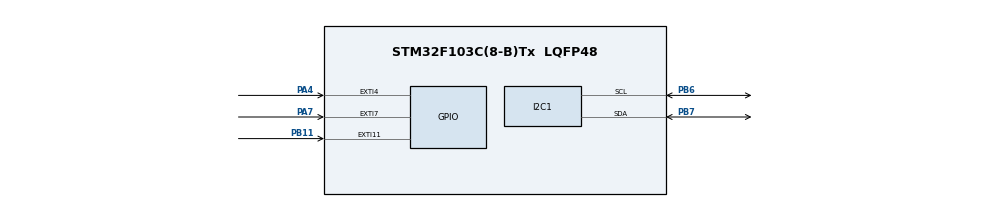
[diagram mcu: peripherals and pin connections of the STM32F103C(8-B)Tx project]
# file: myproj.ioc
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Mcu.Family=STM32F1
Mcu.Name=STM32F103C(8-B)Tx
Mcu.Package=LQFP48
NVIC.EXTI15_10_IRQn=true\:0\:0\:false\:false\:true
NVIC.EXTI4_IRQn=true\:0\:0\:false\:false\:true
NVIC.EXTI9_5_IRQn=true\:0\:0\:false\:false\:true
NVIC.PriorityGroup=NVIC_PRIORITYGROUP_4
PA13.Mode=Serial_Wire
PA13.Signal=SYS_JTMS-SWDIO
PA14.Mode=Serial_Wire
PA14.Signal=SYS_JTCK-SWCLK
PA4.GPIO_ModeDefaultEXTI=GPIO_MODE_IT_RISING_FALLING
PA4.Signal=GPXTI4
PA7.GPIO_ModeDefaultEXTI=GPIO_MODE_IT_FALLING
PA7.Signal=GPXTI7
PB11.GPIO_ModeDefaultEXTI=GPIO_MODE_IT_FALLING
PB11.Signal=GPXTI11
PB6.Mode=I2C
PB6.Signal=I2C1_SCL
PB7.Mode=I2C
PB7.Signal=I2C1_SDA
ProjectManager.HeapSize=0x200
ProjectManager.StackSize=0x400
ProjectManager.TargetToolchain=SW4STM32
RCC.APB1Freq_Value=8000000
RCC.APB2Freq_Value=8000000
board=myproj

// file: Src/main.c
/**
  ******************************************************************************
  * File Name          : main.c
  * Description        : Main program body
  ******************************************************************************
  *
  * COPYRIGHT(c) 2017 STMicroelectronics
  *
  * Redistribution and use in source and binary forms, with or without modification,
  * are permitted provided that the following conditions are met:
  *   1. Redistributions of source code must retain the above copyright notice,
  *      this list of conditions and the following disclaimer.
  *   2. Redistributions in binary form must reproduce the above copyright notice,
  *      this list of conditions and the following disclaimer in the documentation
  *      and/or other materials provided with the distribution.
  *   3. Neither the name of STMicroelectronics nor the names of its contributors
  *      may be used to endorse or promote products derived from this software
  *      without specific prior written permission.
  *
  * THIS SOFTWARE IS PROVIDED BY THE COPYRIGHT HOLDERS AND CONTRIBUTORS "AS IS"
  * AND ANY EXPRESS OR IMPLIED WARRANTIES, INCLUDING, BUT NOT LIMITED TO, THE
  * IMPLIED WARRANTIES OF MERCHANTABILITY AND FITNESS FOR A PARTICULAR PURPOSE ARE
  * DISCLAIMED. IN NO EVENT SHALL THE COPYRIGHT HOLDER OR CONTRIBUTORS BE LIABLE
  * FOR ANY DIRECT, INDIRECT, INCIDENTAL, SPECIAL, EXEMPLARY, OR CONSEQUENTIAL
  * DAMAGES (INCLUDING, BUT NOT LIMITED TO, PROCUREMENT OF SUBSTITUTE GOODS OR
  * SERVICES; LOSS OF USE, DATA, OR PROFITS; OR BUSINESS INTERRUPTION) HOWEVER
  * CAUSED AND ON ANY THEORY OF LIABILITY, WHETHER IN CONTRACT, STRICT LIABILITY,
  * OR TORT (INCLUDING NEGLIGENCE OR OTHERWISE) ARISING IN ANY WAY OUT OF THE USE
  * OF THIS SOFTWARE, EVEN IF ADVISED OF THE POSSIBILITY OF SUCH DAMAGE.
  *
  ******************************************************************************
  */
#include "stm32f1xx_hal.h"

/* USER CODE BEGIN Includes */
#include "lcd.h"
#include "string.h"
#include "stm32f1xx_it.h"
#include <stdio.h>
#include <stdlib.h>
/* USER CODE END Includes */

I2C_HandleTypeDef hi2c1;

/* USER CODE BEGIN PV */
/* Private variables ---------------------------------------------------------*/

/* USER CODE END PV */

void SystemClock_Config(void);
void Error_Handler(void);
static void MX_GPIO_Init(void);
static void MX_I2C1_Init(void);

/* USER CODE BEGIN PFP */
/* Private function prototypes -----------------------------------------------*/

/* USER CODE END PFP */

/* USER CODE BEGIN 0 */
	uint32_t progtime;
	int count;
	int sw_button;
/* USER CODE END 0 */

int main(void)
{

  /* USER CODE BEGIN 1 */

	char message[15]="";
	count = 0;
	sw_button = 0;

  LCD1602 scr;
  scr.hi2c = &hi2c1;
  scr.DevAddress = (0x27<<1);
  /* USER CODE END 1 */

  /* MCU Configuration----------------------------------------------------------*/

  /* Reset of all peripherals, Initializes the Flash interface and the Systick. */
  HAL_Init();

  /* Configure the system clock */
  SystemClock_Config();

  /* Initialize all configured peripherals */
  MX_GPIO_Init();
  MX_I2C1_Init();

  /* USER CODE BEGIN 2 */
  progtime = HAL_GetTick();
  initLCD(&scr);
  /* USER CODE END 2 */

  /* Infinite loop */
  while (1)
  {

  /* USER CODE BEGIN 3 */

  sprintf(message,"Count = %d   ",count);
  moveXY(&scr,1,0);
  writeStringLCD(&scr,message);

  moveXY(&scr,1,1);
  if (sw_button == 1)
  {
	  writeStringLCD(&scr,"pressed    ");
  }
  else
	  writeStringLCD(&scr,"not pressed");

  }
  /* USER CODE END 3 */

}

/** System Clock Configuration
*/
void SystemClock_Config(void)
{

  RCC_OscInitTypeDef RCC_OscInitStruct;
  RCC_ClkInitTypeDef RCC_ClkInitStruct;

  RCC_OscInitStruct.OscillatorType = RCC_OSCILLATORTYPE_HSI;
  RCC_OscInitStruct.HSIState = RCC_HSI_ON;
  RCC_OscInitStruct.HSICalibrationValue = 16;
  RCC_OscInitStruct.PLL.PLLState = RCC_PLL_NONE;
  if (HAL_RCC_OscConfig(&RCC_OscInitStruct) != HAL_OK)
  {
    Error_Handler();
  }

  RCC_ClkInitStruct.ClockType = RCC_CLOCKTYPE_HCLK|RCC_CLOCKTYPE_SYSCLK
                              |RCC_CLOCKTYPE_PCLK1|RCC_CLOCKTYPE_PCLK2;
  RCC_ClkInitStruct.SYSCLKSource = RCC_SYSCLKSOURCE_HSI;
  RCC_ClkInitStruct.AHBCLKDivider = RCC_SYSCLK_DIV1;
  RCC_ClkInitStruct.APB1CLKDivider = RCC_HCLK_DIV1;
  RCC_ClkInitStruct.APB2CLKDivider = RCC_HCLK_DIV1;
  if (HAL_RCC_ClockConfig(&RCC_ClkInitStruct, FLASH_LATENCY_0) != HAL_OK)
  {
    Error_Handler();
  }

  HAL_SYSTICK_Config(HAL_RCC_GetHCLKFreq()/1000);

  HAL_SYSTICK_CLKSourceConfig(SYSTICK_CLKSOURCE_HCLK);

  /* SysTick_IRQn interrupt configuration */
  HAL_NVIC_SetPriority(SysTick_IRQn, 0, 0);
}

/* I2C1 init function */
static void MX_I2C1_Init(void)
{

  hi2c1.Instance = I2C1;
  hi2c1.Init.ClockSpeed = 100000;
  hi2c1.Init.DutyCycle = I2C_DUTYCYCLE_2;
  hi2c1.Init.OwnAddress1 = 0;
  hi2c1.Init.AddressingMode = I2C_ADDRESSINGMODE_7BIT;
  hi2c1.Init.DualAddressMode = I2C_DUALADDRESS_DISABLE;
  hi2c1.Init.OwnAddress2 = 0;
  hi2c1.Init.GeneralCallMode = I2C_GENERALCALL_DISABLE;
  hi2c1.Init.NoStretchMode = I2C_NOSTRETCH_DISABLE;
  if (HAL_I2C_Init(&hi2c1) != HAL_OK)
  {
    Error_Handler();
  }

}

/** Configure pins as
        * Analog
        * Input
        * Output
        * EVENT_OUT
        * EXTI
*/
static void MX_GPIO_Init(void)
{

  GPIO_InitTypeDef GPIO_InitStruct;

  /* GPIO Ports Clock Enable */
  __HAL_RCC_GPIOA_CLK_ENABLE();
  __HAL_RCC_GPIOB_CLK_ENABLE();

  /*Configure GPIO pin : PA4 */
  GPIO_InitStruct.Pin = GPIO_PIN_4;
  GPIO_InitStruct.Mode = GPIO_MODE_IT_RISING_FALLING;
  GPIO_InitStruct.Pull = GPIO_NOPULL;
  HAL_GPIO_Init(GPIOA, &GPIO_InitStruct);

  /*Configure GPIO pin : PA7 */
  GPIO_InitStruct.Pin = GPIO_PIN_7;
  GPIO_InitStruct.Mode = GPIO_MODE_IT_FALLING;
  GPIO_InitStruct.Pull = GPIO_NOPULL;
  HAL_GPIO_Init(GPIOA, &GPIO_InitStruct);

  /*Configure GPIO pin : PB11 */
  GPIO_InitStruct.Pin = GPIO_PIN_11;
  GPIO_InitStruct.Mode = GPIO_MODE_IT_FALLING;
  GPIO_InitStruct.Pull = GPIO_NOPULL;
  HAL_GPIO_Init(GPIOB, &GPIO_InitStruct);

  /* EXTI interrupt init*/
  HAL_NVIC_SetPriority(EXTI4_IRQn, 0, 0);
  HAL_NVIC_EnableIRQ(EXTI4_IRQn);

  HAL_NVIC_SetPriority(EXTI9_5_IRQn, 0, 0);
  HAL_NVIC_EnableIRQ(EXTI9_5_IRQn);

  HAL_NVIC_SetPriority(EXTI15_10_IRQn, 0, 0);
  HAL_NVIC_EnableIRQ(EXTI15_10_IRQn);

}

void Error_Handler(void)
{
  while(1)
  {
  }
}

/************************ (C) COPYRIGHT STMicroelectronics *****END OF FILE****/
